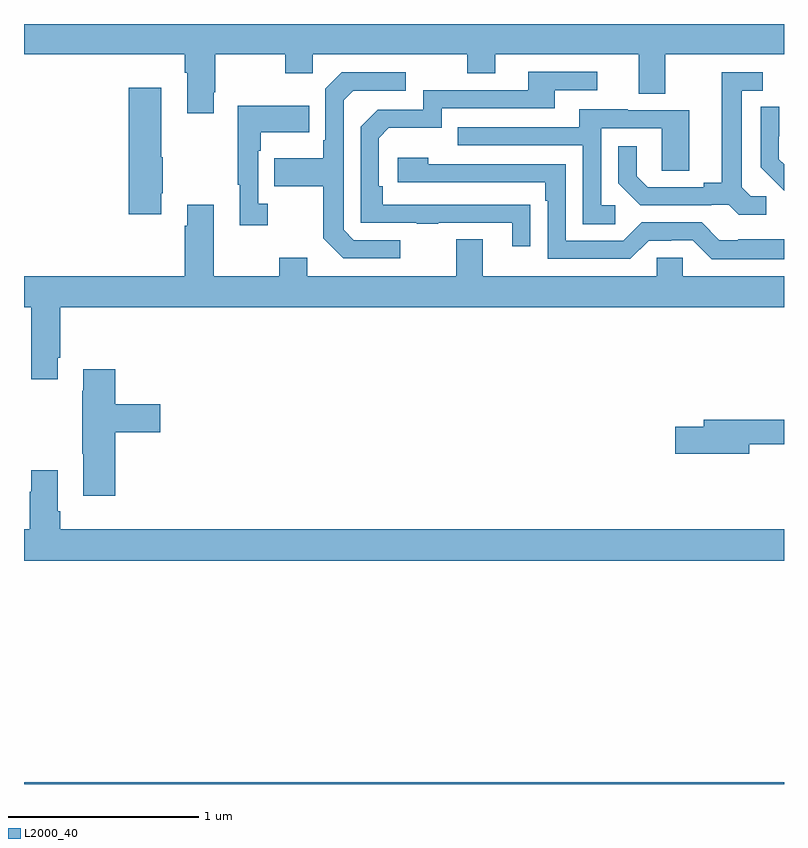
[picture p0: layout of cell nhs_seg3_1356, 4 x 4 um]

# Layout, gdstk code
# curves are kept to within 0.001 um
import gdstk
lib = gdstk.Library(unit=1e-6, precision=1e-09)
def R(c, l, rs):  # rectangles x0, y0, x1, y1
    for r in rs: c.add(gdstk.rectangle(r[:2], r[2:], *l))
def P(c, l, *ps):  # polygons
    for p in ps: c.add(gdstk.Polygon(p, *l))
L2000_40 = (2000, 40)

nhs_seg3_1356 = lib.new_cell('nhs_seg3_1356')
R(nhs_seg3_1356, L2000_40, [(181,706.4,185,706.408)])
P(nhs_seg3_1356, L2000_40, [(181.999,710.041),(182.007,710.041),(182.007,710.24),(182.374,710.24),(182.374,710.141),(182.52,710.141),(182.52,710.24),(183.334,710.24),(183.334,710.141),(183.481,710.141),(183.481,710.24),(184.235,710.24),(184.235,710.032),(184.375,710.032),(184.375,710.24),(185,710.24),(185,710.4),(181,710.4),(181,710.24),(181.847,710.24),(181.847,710.144),(181.859,710.144),(181.859,709.929),(181.999,709.929)],
  [(183.665,709.448),(182.888,709.449),(182.888,709.546),(182.868,709.546),(182.868,709.8),(182.921,709.853),(183.198,709.853),(183.198,709.956),(183.793,709.956),(183.793,710.052),(184.018,710.052),(184.018,710.148),(183.653,710.148),(183.653,710.052),(183.102,710.052),(183.102,709.95),(182.862,709.95),(182.772,709.86),(182.772,709.353),(183.067,709.353),(183.067,709.348),(183.179,709.348),(183.179,709.353),(183.569,709.353),(183.569,709.23),(183.665,709.23)],
  [(184.906,709.494),(184.824,709.494),(184.777,709.541),(184.777,710.049),(184.888,710.049),(184.888,710.145),(184.673,710.145),(184.673,709.565),(184.577,709.565),(184.577,709.542),(184.282,709.542),(184.225,709.599),(184.225,709.756),(184.128,709.756),(184.128,709.562),(184.244,709.446),(184.616,709.446),(184.616,709.449),(184.71,709.449),(184.762,709.397),(184.906,709.397)],
  [(182.98,709.263),(182.736,709.263),(182.682,709.317),(182.682,709.998),(182.733,710.049),(183.01,710.049),(183.01,710.145),(182.673,710.145),(182.586,710.058),(182.586,709.789),(182.574,709.789),(182.574,709.693),(182.317,709.693),(182.317,709.546),(182.574,709.546),(182.574,709.273),(182.679,709.167),(182.98,709.167)],
  [(181.723,709.51),(181.731,709.51),(181.731,709.699),(181.723,709.699),(181.723,710.065),(181.55,710.065),(181.55,709.398),(181.723,709.398)],
  [(182.284,709.454),(182.232,709.454),(182.232,709.733),(182.245,709.733),(182.245,709.829),(182.501,709.829),(182.501,709.969),(182.124,709.969),(182.124,709.553),(182.135,709.553),(182.135,709.341),(182.284,709.341)],
  [(185,709.661),(184.973,709.688),(184.973,709.81),(184.974,709.81),(184.974,709.964),(184.878,709.964),(184.878,709.646),(184.951,709.573),(184.95,709.572),(185,709.522)],
  [(184.111,709.446),(184.038,709.446),(184.038,709.851),(184.356,709.851),(184.356,709.627),(184.501,709.627),(184.501,709.947),(184.177,709.947),(184.177,709.951),(183.923,709.951),(183.923,709.857),(183.283,709.857),(183.283,709.761),(183.942,709.761),(183.942,709.345),(184.111,709.345)],
  [(185,709.267),(184.759,709.267),(184.759,709.263),(184.659,709.263),(184.566,709.356),(184.251,709.356),(184.155,709.26),(183.852,709.26),(183.852,709.662),(183.128,709.662),(183.128,709.696),(182.967,709.696),(182.967,709.566),(183.743,709.566),(183.743,709.469),(183.756,709.469),(183.756,709.164),(184.191,709.164),(184.287,709.26),(184.406,709.26),(184.406,709.263),(184.521,709.263),(184.621,709.163),(185,709.163)],
  [(181.177,708.643),(181.19,708.643),(181.19,708.908),(185,708.908),(185,709.072),(184.467,709.072),(184.467,709.17),(184.329,709.17),(184.329,709.072),(183.415,709.072),(183.415,709.267),(183.275,709.267),(183.275,709.072),(182.491,709.072),(182.491,709.171),(182.344,709.171),(182.344,709.072),(181.999,709.072),(181.999,709.45),(181.859,709.45),(181.859,709.337),(181.847,709.337),(181.847,709.072),(181,709.072),(181,708.908),(181.037,708.908),(181.037,708.531),(181.177,708.531)],
  [(181.481,708.251),(181.717,708.251),(181.717,708.398),(181.481,708.398),(181.481,708.583),(181.313,708.583),(181.313,708.47),(181.306,708.47),(181.306,708.139),(181.313,708.139),(181.313,707.916),(181.481,707.916)],
  [(184.816,708.189),(185,708.189),(185,708.317),(184.577,708.317),(184.577,708.281),(184.428,708.281),(184.428,708.139),(184.816,708.139)],
  [(185,707.74),(181.19,707.74),(181.19,707.836),(181.177,707.836),(181.177,708.052),(181.037,708.052),(181.037,707.939),(181.03,707.939),(181.03,707.74),(181,707.74),(181,707.576),(185,707.576)])

lib.write_gds('nhs_seg3_1356.gds')
